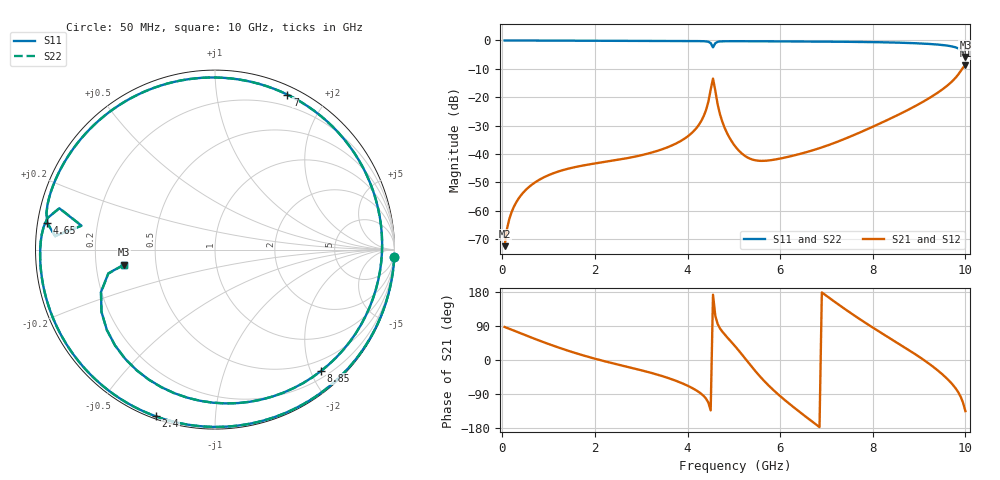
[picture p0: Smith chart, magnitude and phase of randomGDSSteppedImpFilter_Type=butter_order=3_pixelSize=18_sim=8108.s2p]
! freq	dB(S11)	phase(S11)	dB(S12)	phase(S12)
!  dB(S21)	phase(S21)	dB(S22)	phase(S22)
!S-par simulation data
#  GHz  S  DB  R 50
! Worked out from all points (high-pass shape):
!   200 points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, 50 MHz to 10 GHz, reference 50 ohm
!   highest |S21| = -8.74 dB at 10 GHz (marker M1); lowest = -72.5 dB at 50 MHz (marker M2)
!   |S21| within 3 dB of the highest: 9.857 GHz to end of sweep
!   lowest |S11| = -5.8 dB at 10 GHz (marker M3), VSWR 3.12, Z = 16.1 - j3.68 ohm
!   |S11| at or under -10 dB: nowhere
!   |S22| runs from -5.7 to 0.0 dB; largest |S21 - S12| = 0
!   S11 on the Smith chart (normalised r, x): 50 MHz: 0, -46; 2.4 GHz: 0.01, -0.71; 4.65 GHz: 0.03, +0.08; 7 GHz: 0.08, +1.57; 8.85 GHz: 0.31, -2.16; 10 GHz: 0.32, -0.07
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0.05  -0.00 -2.5  -72.50 87.2  -72.50 87.2  -0.00 -2.5
0.2  -0.01 -10.0  -60.53 80.0  -60.53 80.0  -0.01 -10.0
0.5  -0.04 -24.7  -52.79 65.4  -52.79 65.4  -0.03 -24.7
1.15  -0.07 -55.7  -46.51 35.6  -46.51 35.6  -0.07 -55.7
1.75  -0.10 -82.6  -44.05 12.0  -44.05 12.0  -0.10 -82.6
2.4  -0.13 -109.6  -42.32 -9.1  -42.32 -9.1  -0.13 -109.6
3.4  -0.17 -148.1  -38.64 -40.5  -38.64 -40.5  -0.17 -148.1
4.2  -0.22 -178.4  -30.72 -81.0  -30.72 -81.0  -0.22 -178.4
4.4  -0.33 172.4  -24.50 -102.1  -24.50 -102.1  -0.33 172.4
4.55  -2.43 169.9  -13.43 172.4  -13.43 172.4  -2.44 169.8
4.65  -0.48 171.0  -22.51 95.0  -22.51 95.0  -0.48 171.0
4.8  -0.28 162.8  -30.74 67.6  -30.74 67.6  -0.28 162.8
5.05  -0.26 152.2  -37.75 33.1  -37.75 33.1  -0.26 152.2
5.55  -0.29 131.9  -42.41 -41.4  -42.41 -41.4  -0.29 131.8
6.7  -0.38 80.1  -38.73 -163.3  -38.73 -163.3  -0.38 80.1
7  -0.42 65.0  -37.13 169.3  -37.13 169.3  -0.42 64.9
7.75  -0.53 23.5  -32.23 105.3  -32.23 105.3  -0.53 23.4
8.35  -0.69 -13.9  -27.77 58.8  -27.77 58.8  -0.69 -14.0
8.85  -0.93 -48.9  -23.71 20.6  -23.71 20.6  -0.93 -49.0
9.5  -1.60 -105.8  -17.29 -37.5  -17.29 -37.5  -1.60 -105.8
9.85  -2.84 -151.3  -11.90 -85.9  -11.90 -85.9  -2.83 -151.2
10  -5.78 -170.6  -8.74 -135.0  -8.74 -135.0  -5.75 -170.4
